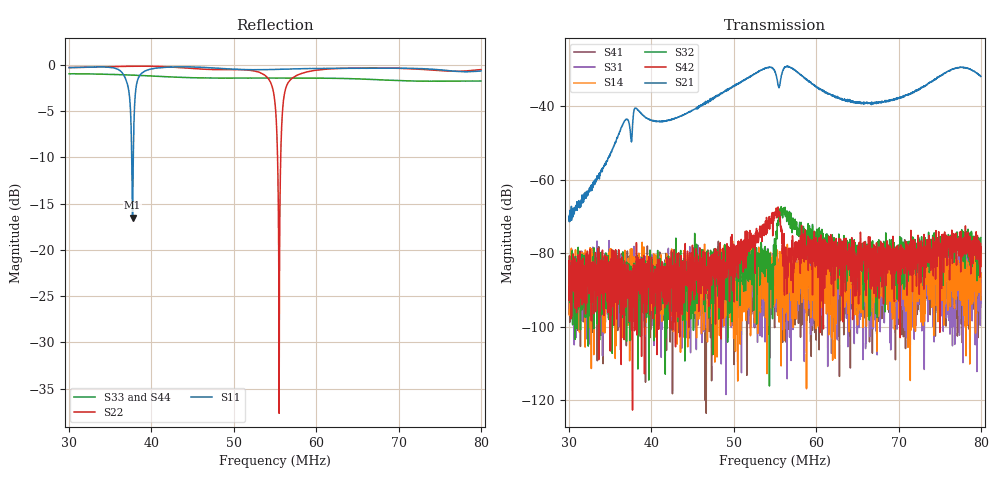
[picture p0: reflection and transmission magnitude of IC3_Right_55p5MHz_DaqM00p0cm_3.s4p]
#  HZ  S  DB  R  50.00
! Rohde & Schwarz Vector Network Analyzer
! Rohde-Schwarz,ZNB8-4Port,1311601044102961,2.82
! Created: UTC 2/13/2019, 11:49:20 AM
! freq[Hz]  db:S11  ang:S11  db:S12  ang:S12  db:S13  ang:S13  db:S14  ang:S14
!  db:S21  ang:S21  db:S22  ang:S22  db:S23  ang:S23  db:S24  ang:S24
!  db:S31  ang:S31  db:S32  ang:S32  db:S33  ang:S33  db:S34  ang:S34
!  db:S41  ang:S41  db:S42  ang:S42  db:S43  ang:S43  db:S44  ang:S44
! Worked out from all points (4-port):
!   2001 points, 30 MHz to 80 MHz, reference 50 ohm
!   strongest paths, dB at 30 MHz, 42.5 MHz, 55 MHz, 67.5 MHz, 80 MHz:
!     S21: -69.8, -43.5, -30.6, -39.1, -31.8
!     S42: -82.1, -89.0, -69.7, -83.7, -78.3
!     S32: -80.9, -95.9, -78.3, -82.5, -75.8
!     S14: -88.6, -85.8, -80.3, -91.5, -92.7
!     S31: -95.1, -90.1, -94.8, -85.3, -93.8
!     S41: -89.3, -99.2, -91.6, -81.7, -85.5
!   lowest |S11| = -16.5 dB at 37.7 MHz (marker M1), VSWR 1.35, Z = 65.5 - j7.75 ohm
!   |S11| at or under -10 dB: 37.6 MHz to 37.79 MHz (193 kHz wide, 0.512 % of centre)
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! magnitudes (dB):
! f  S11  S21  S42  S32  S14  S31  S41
! 30 MHz  -0.3  -69.8  -82.1  -80.9  -88.6  -95.1  -89.3
! 37.7 MHz  -16.5  -45.5  -122.8  -98.8  -81.2  -85.3  -89.4
! 53.98 MHz  -0.5  -29.5  -70.3  -82.9  -96.3  -87.0  -82.1
! 55.5 MHz  -0.5  -34.9  -69.9  -68.7  -98.8  -88.6  -90.2
! 57.23 MHz  -0.4  -29.7  -83.0  -72.1  -100.3  -86.8  -93.1
! 65.3 MHz  -0.3  -38.9  -79.5  -77.9  -87.2  -98.1  -91.1
! 80 MHz  -0.6  -31.8  -78.3  -75.8  -92.7  -93.8  -85.5
